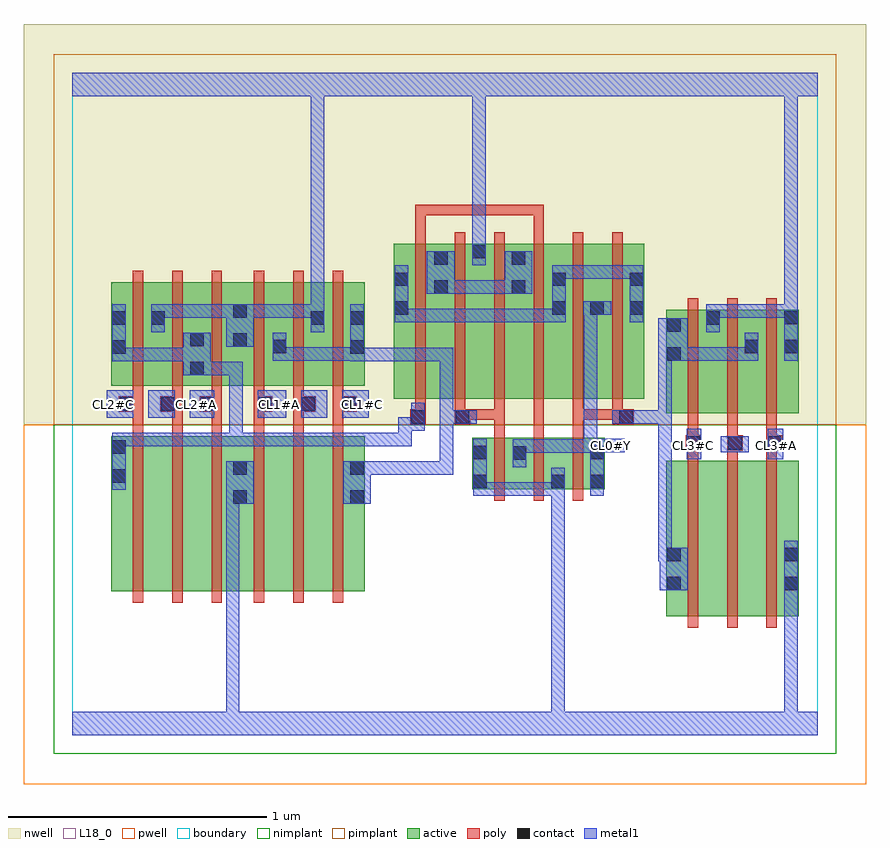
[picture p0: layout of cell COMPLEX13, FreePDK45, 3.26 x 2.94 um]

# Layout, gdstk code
import gdstk
lib = gdstk.Library(unit=1e-6, precision=1e-09)
def R(c, l, rs):  # rectangles x0, y0, x1, y1
    for r in rs: c.add(gdstk.rectangle(r[:2], r[2:], *l))
def A(c, l, x, y, w, h, nx, ny, dx, dy):  # array of equal rectangles
    R(c, l, [(x+i*dx, y+j*dy, x+i*dx+w, y+j*dy+h) for i in range(nx) for j in range(ny)])
active = (1, 0)
pwell = (2, 0)
nwell = (3, 0)
nimplant = (4, 0)
pimplant = (5, 0)
poly = (9, 0)
contact = (10, 0)
metal1 = (11, 0)
L18_0 = (18, 0)
boundary = (235, 0)

complex13 = lib.new_cell('COMPLEX13')
R(complex13, active, [(2.294,0.46,2.474,1.06), (2.474,0.46,2.626,1.06), (2.626,0.46,2.806,1.06), (0.15,0.556,0.33,1.156), (0.15,0.556,0.21,1.156), (0.33,0.556,0.482,1.156), (0.482,0.556,0.678,1.156), (0.618,0.556,0.798,1.156), (0.618,0.556,0.678,1.156), (0.798,0.556,0.95,1.156), (0.95,0.556,1.13,1.156), (1.07,0.556,1.13,1.156), (2.294,0.556,2.354,1.06), (2.746,0.556,2.806,1.06), (1.546,0.95,1.606,1.15), (1.546,0.95,1.758,1.15), (1.698,0.95,1.906,1.15), (1.698,0.95,1.758,1.12), (1.846,0.95,2.058,1.15), (1.846,0.95,1.906,1.01), (1.998,0.95,2.058,1.15), (2.294,1.244,2.354,1.644), (2.294,1.244,2.506,1.644), (2.446,1.244,2.506,1.644), (2.446,1.244,2.654,1.644), (2.594,1.244,2.806,1.644), (2.746,1.244,2.806,1.644), (1.242,1.3,1.454,1.9), (1.242,1.3,1.302,1.844), (1.394,1.3,1.602,1.9), (1.542,1.3,1.754,1.9), (1.694,1.3,1.754,1.9), (1.694,1.3,1.91,1.9), (1.85,1.3,2.058,1.9), (1.998,1.3,2.21,1.9), (2.15,1.3,2.21,1.9), (0.15,1.35,0.362,1.75), (0.15,1.35,0.21,1.644), (0.302,1.35,0.362,1.644), (0.302,1.35,0.512,1.75), (0.452,1.35,0.512,1.644), (0.452,1.35,0.678,1.75), (0.618,1.35,0.83,1.75), (0.618,1.35,0.678,1.67), (0.77,1.35,0.978,1.75), (0.77,1.35,0.83,1.644), (0.918,1.35,1.13,1.75), (0.918,1.35,0.978,1.644), (1.07,1.35,1.13,1.644), (2.594,1.472,2.654,1.644), (1.394,1.58,1.454,1.9), (1.85,1.62,1.91,1.844), (1.998,1.62,2.058,1.844), (1.542,1.672,1.602,1.9)])
R(complex13, pwell, [(-0.188,-0.188,3.068,1.2)])
R(complex13, nwell, [(-0.188,1.2,3.068,2.748)])
R(complex13, nimplant, [(-0.072,-0.072,2.952,1.2)])
R(complex13, pimplant, [(-0.072,1.2,2.952,2.632)])
A(complex13, poly, 2.378, 0.416, 0.04, 0.688, 3, 1, 0.152, 0)
A(complex13, poly, 0.234, 0.512, 0.04, 0.688, 3, 1, 0.152, 0)
A(complex13, poly, 0.702, 0.512, 0.04, 0.688, 3, 1, 0.152, 0)
A(complex13, poly, 1.63, 0.906, 0.04, 0.288, 3, 1, 0.152, 0)
A(complex13, poly, 2.378, 1.064, 0.04, 0.076, 3, 1, 0.152, 0)
A(complex13, poly, 2.378, 1.12, 0.04, 0.12, 3, 1, 0.152, 0)
A(complex13, poly, 1.63, 1.154, 0.04, 0.106, 3, 1, 0.152, 0)
A(complex13, poly, 0.234, 1.16, 0.04, 0.13, 3, 1, 0.152, 0)
A(complex13, poly, 0.702, 1.16, 0.04, 0.13, 3, 1, 0.152, 0)
A(complex13, poly, 2.378, 1.2, 0.04, 0.488, 3, 1, 0.152, 0)
A(complex13, poly, 1.326, 1.22, 0.04, 0.076, 6, 1, 0.152, 0)
A(complex13, poly, 1.326, 1.256, 0.04, 0.688, 6, 1, 0.152, 0)
A(complex13, poly, 0.234, 1.27, 0.04, 0.076, 3, 1, 0.152, 0)
A(complex13, poly, 0.702, 1.27, 0.04, 0.076, 3, 1, 0.152, 0)
A(complex13, poly, 0.234, 1.306, 0.04, 0.488, 3, 1, 0.152, 0)
A(complex13, poly, 0.702, 1.306, 0.04, 0.488, 3, 1, 0.152, 0)
R(complex13, poly, [(2.37,1.1,2.43,1.16), (2.378,1.1,2.418,1.14), (2.378,1.1,2.418,1.14), (2.53,1.1,2.59,1.16), (2.682,1.1,2.742,1.16), (2.53,1.12,2.57,1.16), (2.53,1.12,2.57,1.16), (2.682,1.12,2.722,1.16), (2.682,1.12,2.722,1.16), (1.306,1.2,1.366,1.26), (1.478,1.2,1.538,1.26), (2.086,1.2,2.17,1.26), (1.326,1.22,1.366,1.26), (1.326,1.22,1.366,1.26), (1.498,1.22,1.538,1.26), (1.498,1.22,1.538,1.26), (1.498,1.22,1.67,1.26), (1.63,1.22,1.67,1.26), (1.63,1.22,1.67,1.26), (1.63,1.22,1.67,1.26), (1.782,1.22,1.822,1.26), (1.782,1.22,1.822,1.26), (1.782,1.22,1.822,1.26), (1.934,1.22,1.974,1.26), (1.934,1.22,1.974,1.26), (1.934,1.22,1.974,1.26), (1.934,1.22,2.126,1.26), (2.086,1.22,2.126,1.26), (2.086,1.22,2.126,1.26), (0.18,1.25,0.274,1.31), (0.234,1.25,0.274,1.29), (0.234,1.25,0.274,1.29), (0.34,1.25,0.426,1.31), (0.492,1.25,0.578,1.31), (0.702,1.25,0.742,1.29), (0.702,1.25,0.742,1.29), (0.702,1.25,0.772,1.31), (0.854,1.25,0.894,1.29), (0.854,1.25,0.894,1.29), (0.854,1.25,0.94,1.31), (1.006,1.25,1.046,1.29), (1.006,1.25,1.046,1.29), (1.006,1.25,1.1,1.31), (0.386,1.27,0.426,1.31), (0.386,1.27,0.426,1.31), (0.538,1.27,0.578,1.31), (0.538,1.27,0.578,1.31), (1.326,1.904,1.366,2.05), (1.782,1.904,1.822,2.05), (1.326,2.01,1.366,2.05), (1.326,2.01,1.366,2.05), (1.326,2.01,1.366,2.05), (1.326,2.01,1.564,2.05), (1.524,2.01,1.564,2.05), (1.524,2.01,1.716,2.05), (1.676,2.01,1.716,2.05), (1.676,2.01,1.716,2.05), (1.676,2.01,1.716,2.05), (1.676,2.01,1.822,2.05), (1.782,2.01,1.822,2.05), (1.782,2.01,1.822,2.05), (1.782,2.01,1.822,2.05)])
R(complex13, contact, [(2.298,0.56,2.35,0.612), (2.75,0.56,2.802,0.612), (2.298,0.672,2.35,0.724), (2.75,0.672,2.802,0.724), (0.622,0.894,0.674,0.946), (1.074,0.894,1.126,0.946), (1.55,0.954,1.602,1.006), (1.85,0.954,1.902,1.006), (2.002,0.954,2.054,1.006), (0.154,0.976,0.206,1.028), (0.622,1.006,0.674,1.058), (1.074,1.006,1.126,1.058), (1.702,1.064,1.754,1.116), (1.55,1.066,1.602,1.118), (2.002,1.066,2.054,1.118), (0.154,1.088,0.206,1.14), (2.374,1.104,2.426,1.156), (2.534,1.104,2.586,1.156), (2.686,1.104,2.738,1.156), (1.31,1.204,1.362,1.256), (1.482,1.204,1.534,1.256), (2.114,1.204,2.166,1.256), (0.184,1.254,0.236,1.306), (0.344,1.254,0.396,1.306), (0.496,1.254,0.548,1.306), (0.716,1.254,0.768,1.306), (0.884,1.254,0.936,1.306), (1.044,1.254,1.096,1.306), (0.456,1.392,0.508,1.444), (2.298,1.448,2.35,1.5), (0.154,1.474,0.206,1.526), (1.074,1.474,1.126,1.526), (0.774,1.476,0.826,1.528), (2.598,1.476,2.65,1.528), (2.75,1.476,2.802,1.528), (0.622,1.502,0.674,1.554), (0.456,1.504,0.508,1.556), (2.298,1.56,2.35,1.612), (0.154,1.586,0.206,1.638), (0.306,1.586,0.358,1.638), (0.922,1.586,0.974,1.638), (1.074,1.586,1.126,1.638), (2.45,1.586,2.502,1.638), (2.75,1.588,2.802,1.64), (0.622,1.614,0.674,1.666), (1.246,1.624,1.298,1.676), (1.854,1.624,1.906,1.676), (2.002,1.624,2.054,1.676), (2.154,1.624,2.206,1.676), (1.398,1.706,1.45,1.758), (1.698,1.706,1.75,1.758), (1.246,1.736,1.298,1.788), (1.854,1.736,1.906,1.788), (2.154,1.736,2.206,1.788), (1.398,1.818,1.45,1.87), (1.698,1.818,1.75,1.87), (1.546,1.844,1.598,1.896)])
R(complex13, metal1, [(0,0,2.88,0.092), (0.594,0.04,0.646,0.092), (0.594,0.04,0.646,0.092), (0.594,0.04,0.646,0.092), (0.594,0.04,0.646,0.092), (0.594,0.04,0.646,0.092), (0.594,0.04,0.646,0.092), (0.594,0.04,0.646,0.092), (0.594,0.04,0.646,0.092), (0.594,0.04,0.646,0.946), (1.85,0.04,1.902,0.092), (1.85,0.04,1.902,0.092), (1.85,0.04,1.902,0.092), (1.85,0.04,1.902,0.092), (1.85,0.04,1.902,0.092), (1.85,0.04,1.902,0.092), (1.85,0.04,1.902,0.092), (1.85,0.04,1.902,0.092), (1.85,0.04,1.902,0.978), (2.75,0.04,2.802,0.584), (2.75,0.532,2.802,0.584), (2.75,0.532,2.802,0.584), (2.75,0.532,2.802,0.584), (2.75,0.532,2.802,0.584), (2.75,0.532,2.802,0.584), (2.75,0.532,2.802,0.584), (2.75,0.532,2.802,0.584), (2.75,0.532,2.802,0.584), (2.75,0.532,2.802,0.752), (2.27,0.56,2.378,0.724), (2.264,0.672,2.316,1.256), (2.264,0.672,2.322,0.724), (2.27,0.672,2.322,0.724), (0.594,0.894,0.702,1.058), (1.046,0.894,1.154,1.058), (1.55,0.926,1.602,0.978), (1.55,0.926,1.602,0.978), (1.55,0.926,1.602,1.146), (1.55,0.926,1.792,0.978), (1.74,0.926,1.792,0.978), (1.74,0.926,1.792,0.978), (1.74,0.926,1.792,0.978), (1.74,0.926,1.902,0.978), (1.85,0.926,1.902,0.978), (1.85,0.926,1.902,0.978), (1.85,0.926,1.902,0.978), (1.85,0.926,1.902,0.978), (1.85,0.926,1.902,0.978), (1.85,0.926,1.902,0.978), (1.85,0.926,1.902,0.978), (1.85,0.926,1.902,0.978), (1.85,0.926,1.902,1.034), (2.002,0.926,2.054,1.146), (0.154,0.948,0.206,1.168), (1.102,1.006,1.312,1.058), (1.26,1.006,1.312,1.058), (1.26,1.006,1.312,1.058), (1.26,1.006,1.312,1.058), (1.26,1.006,1.472,1.058), (1.42,1.006,1.472,1.058), (1.42,1.006,1.472,1.256), (1.702,1.036,1.754,1.144), (2.374,1.066,2.43,1.184), (2.686,1.066,2.746,1.184), (1.702,1.092,1.754,1.144), (1.702,1.092,1.754,1.144), (1.702,1.092,1.902,1.144), (1.85,1.092,1.902,1.144), (1.85,1.092,1.902,1.144), (1.85,1.092,1.902,1.144), (1.85,1.092,2.054,1.144), (1.976,1.094,2.028,1.146), (1.976,1.094,2.028,1.146), (1.976,1.094,2.028,1.676), (1.976,1.094,2.134,1.146), (2.002,1.094,2.054,1.146), (2.506,1.094,2.614,1.156), (0.154,1.116,0.206,1.168), (0.154,1.116,0.206,1.168), (0.154,1.116,0.37,1.168), (0.318,1.116,0.37,1.168), (0.318,1.116,0.37,1.168), (0.318,1.116,0.37,1.168), (0.318,1.116,0.48,1.168), (0.428,1.116,0.48,1.168), (0.428,1.116,0.48,1.168), (0.428,1.116,0.48,1.168), (0.428,1.116,0.658,1.168), (0.606,1.116,0.658,1.168), (0.606,1.116,0.658,1.168), (0.606,1.116,0.658,1.168), (0.606,1.116,0.658,1.168), (0.606,1.116,0.658,1.168), (0.606,1.116,0.864,1.168), (0.606,1.116,0.658,1.444), (0.812,1.116,0.864,1.168), (0.812,1.116,0.864,1.168), (0.812,1.116,0.864,1.168), (0.812,1.116,0.974,1.168), (0.922,1.116,0.974,1.168), (0.922,1.116,0.974,1.168), (0.922,1.116,0.974,1.168), (0.922,1.116,1.188,1.168), (1.136,1.116,1.188,1.168), (1.136,1.116,1.312,1.168), (1.26,1.116,1.312,1.228), (1.26,1.176,1.362,1.228), (1.31,1.176,1.362,1.284), (1.42,1.204,1.472,1.256), (1.42,1.204,1.472,1.256), (1.42,1.204,1.472,1.256), (1.42,1.204,1.506,1.256), (1.42,1.204,1.472,1.498), (1.454,1.204,1.562,1.256), (2.086,1.204,2.194,1.256), (2.142,1.204,2.268,1.256), (2.216,1.204,2.268,1.256), (2.216,1.204,2.316,1.256), (2.264,1.204,2.316,1.256), (2.264,1.204,2.316,1.5), (0.134,1.226,0.236,1.334), (0.294,1.226,0.396,1.334), (0.454,1.226,0.548,1.334), (0.716,1.226,0.826,1.334), (0.884,1.226,0.986,1.334), (1.044,1.226,1.146,1.334), (0.428,1.392,0.536,1.556), (0.484,1.392,0.536,1.444), (0.484,1.392,0.536,1.444), (0.484,1.392,0.658,1.444), (0.606,1.392,0.658,1.444), (0.606,1.392,0.658,1.444), (0.606,1.392,0.658,1.444), (0.154,1.446,0.206,1.498), (0.154,1.446,0.206,1.498), (0.154,1.446,0.206,1.666), (0.154,1.446,0.37,1.498), (0.318,1.446,0.37,1.498), (0.318,1.446,0.37,1.498), (0.318,1.446,0.37,1.498), (0.318,1.446,0.48,1.498), (1.074,1.446,1.126,1.498), (1.074,1.446,1.126,1.498), (1.074,1.446,1.126,1.666), (1.074,1.446,1.298,1.498), (1.246,1.446,1.298,1.498), (1.246,1.446,1.472,1.498), (1.42,1.446,1.472,1.498), (0.774,1.448,0.826,1.5), (0.774,1.448,0.826,1.5), (0.774,1.448,0.826,1.556), (0.774,1.448,0.974,1.5), (0.922,1.448,0.974,1.5), (0.922,1.448,0.974,1.5), (0.922,1.448,0.974,1.5), (0.922,1.448,1.126,1.5), (2.264,1.448,2.378,1.612), (2.326,1.448,2.378,1.5), (2.326,1.448,2.378,1.5), (2.326,1.448,2.54,1.5), (2.488,1.448,2.54,1.5), (2.488,1.448,2.54,1.5), (2.488,1.448,2.54,1.5), (2.488,1.448,2.65,1.5), (2.598,1.448,2.65,1.556), (2.75,1.448,2.802,1.668), (0.594,1.502,0.702,1.666), (0.306,1.558,0.358,1.666), (0.922,1.558,0.974,1.666), (2.45,1.558,2.502,1.666), (1.246,1.596,1.298,1.648), (1.246,1.596,1.298,1.648), (1.246,1.596,1.298,1.816), (1.246,1.596,1.472,1.648), (1.42,1.596,1.472,1.648), (1.42,1.596,1.472,1.648), (1.42,1.596,1.472,1.648), (1.42,1.596,1.612,1.648), (1.56,1.596,1.612,1.648), (1.56,1.596,1.612,1.648), (1.56,1.596,1.612,1.648), (1.56,1.596,1.612,1.648), (1.56,1.596,1.612,1.648), (1.56,1.596,1.726,1.648), (1.674,1.596,1.726,1.648), (1.674,1.596,1.726,1.648), (1.674,1.596,1.726,1.648), (1.674,1.596,1.906,1.648), (1.854,1.596,1.906,1.816), (2.154,1.596,2.206,1.816), (0.306,1.614,0.358,1.666), (0.306,1.614,0.358,1.666), (0.306,1.614,0.506,1.666), (0.454,1.614,0.506,1.666), (0.454,1.614,0.506,1.666), (0.454,1.614,0.506,1.666), (0.454,1.614,0.646,1.666), (0.65,1.614,0.702,1.666), (0.65,1.614,0.702,1.666), (0.65,1.614,0.864,1.666), (0.812,1.614,0.864,1.666), (0.812,1.614,0.864,1.666), (0.812,1.614,0.864,1.666), (0.812,1.614,0.974,1.666), (0.922,1.614,0.974,1.666), (0.922,1.614,0.974,1.666), (0.922,1.614,0.974,1.666), (0.922,1.614,0.974,1.666), (0.922,1.614,0.974,1.666), (0.922,1.614,0.974,1.666), (0.922,1.614,0.974,1.666), (0.922,1.614,0.974,1.666), (0.922,1.614,0.974,1.666), (0.922,1.614,0.974,1.666), (0.922,1.614,0.974,2.52), (2.45,1.614,2.502,1.666), (2.45,1.614,2.502,1.666), (2.45,1.614,2.692,1.666), (2.64,1.614,2.692,1.666), (2.64,1.614,2.692,1.666), (2.64,1.614,2.692,1.666), (2.64,1.614,2.802,1.666), (2.75,1.616,2.802,1.668), (2.75,1.616,2.802,1.668), (2.75,1.616,2.802,2.52), (1.974,1.624,2.082,1.676), (1.37,1.706,1.478,1.87), (1.426,1.706,1.478,1.758), (1.426,1.706,1.478,1.758), (1.426,1.706,1.588,1.758), (1.536,1.706,1.588,1.758), (1.536,1.706,1.588,1.758), (1.536,1.706,1.588,1.758), (1.536,1.706,1.722,1.758), (1.67,1.706,1.778,1.87), (1.854,1.764,1.906,1.816), (1.854,1.764,1.906,1.816), (1.854,1.764,1.906,1.816), (1.854,1.764,1.906,1.816), (1.854,1.764,2.096,1.816), (2.044,1.764,2.096,1.816), (2.044,1.764,2.206,1.816), (2.154,1.764,2.206,1.816), (2.154,1.764,2.206,1.816), (1.546,1.816,1.598,1.924), (1.546,1.872,1.598,2.52), (0,2.468,2.88,2.56), (0.922,2.468,0.974,2.52), (0.922,2.468,0.974,2.52), (0.922,2.468,0.974,2.52), (0.922,2.468,0.974,2.52), (0.922,2.468,0.974,2.52), (0.922,2.468,0.974,2.52), (1.546,2.468,1.598,2.52), (1.546,2.468,1.598,2.52), (1.546,2.468,1.598,2.52), (1.546,2.468,1.598,2.52), (1.546,2.468,1.598,2.52), (1.546,2.468,1.598,2.52), (1.546,2.468,1.598,2.52), (1.546,2.468,1.598,2.52), (1.546,2.468,1.598,2.52), (1.546,2.468,1.598,2.52), (1.546,2.468,1.598,2.52), (1.546,2.468,1.598,2.52), (2.75,2.468,2.802,2.52), (2.75,2.468,2.802,2.52), (2.75,2.468,2.802,2.52), (2.75,2.468,2.802,2.52), (2.75,2.468,2.802,2.52), (2.75,2.468,2.802,2.52), (2.75,2.468,2.802,2.52), (2.75,2.468,2.802,2.52), (2.75,2.468,2.802,2.52), (2.75,2.468,2.802,2.52), (2.75,2.468,2.802,2.52), (2.75,2.468,2.802,2.52), (2.75,2.468,2.802,2.52), (2.75,2.468,2.802,2.52)])
A(complex13, L18_0, 2.374, 1.094, 0.052, 0.052, 3, 1, 0.16, 0)
A(complex13, L18_0, 0.134, 1.254, 0.052, 0.052, 3, 1, 0.16, 0)
A(complex13, L18_0, 0.774, 1.254, 0.052, 0.052, 3, 1, 0.16, 0)
R(complex13, L18_0, [(0,0,2.88,0.092), (0.594,0.04,0.646,0.092), (0.594,0.04,0.646,0.092), (0.594,0.04,0.646,0.092), (0.594,0.04,0.646,0.092), (0.594,0.04,0.646,0.092), (0.594,0.04,0.646,0.092), (0.594,0.04,0.646,0.092), (0.594,0.04,0.646,0.092), (0.594,0.04,0.646,0.946), (1.85,0.04,1.902,0.092), (1.85,0.04,1.902,0.092), (1.85,0.04,1.902,0.092), (1.85,0.04,1.902,0.092), (1.85,0.04,1.902,0.092), (1.85,0.04,1.902,0.092), (1.85,0.04,1.902,0.092), (1.85,0.04,1.902,0.092), (1.85,0.04,1.902,0.978), (2.75,0.04,2.802,0.584), (2.75,0.532,2.802,0.584), (2.75,0.532,2.802,0.584), (2.75,0.532,2.802,0.584), (2.75,0.532,2.802,0.584), (2.75,0.532,2.802,0.584), (2.75,0.532,2.802,0.584), (2.75,0.532,2.802,0.584), (2.75,0.532,2.802,0.584), (2.75,0.532,2.802,0.752), (0.594,0.894,0.702,1.058), (1.55,0.926,1.602,0.978), (1.55,0.926,1.602,0.978), (1.55,0.926,1.602,1.146), (1.55,0.926,1.792,0.978), (1.74,0.926,1.792,0.978), (1.74,0.926,1.792,0.978), (1.74,0.926,1.792,0.978), (1.74,0.926,1.902,0.978), (1.85,0.926,1.902,1.034), (1.85,0.926,1.902,0.978), (1.85,0.926,1.902,0.978), (1.85,0.926,1.902,0.978), (1.85,0.926,1.902,0.978), (1.85,0.926,1.902,0.978), (1.85,0.926,1.902,0.978), (1.85,0.926,1.902,0.978), (1.85,0.926,1.902,0.978), (2.002,0.926,2.054,1.146), (1.702,1.036,1.754,1.144), (2.374,1.066,2.43,1.184), (2.686,1.066,2.746,1.184), (1.702,1.092,1.754,1.144), (1.702,1.092,1.754,1.144), (1.702,1.092,1.902,1.144), (1.85,1.092,1.902,1.144), (1.85,1.092,1.902,1.144), (1.85,1.092,1.902,1.144), (1.85,1.092,2.054,1.144), (1.976,1.094,2.028,1.146), (1.976,1.094,2.028,1.146), (1.976,1.094,2.134,1.146), (1.976,1.094,2.028,1.676), (2.002,1.094,2.054,1.146), (2.054,1.094,2.106,1.146), (2.506,1.094,2.614,1.156), (0.134,1.226,0.236,1.334), (0.294,1.226,0.396,1.334), (0.454,1.226,0.548,1.334), (0.716,1.226,0.826,1.334), (0.884,1.226,0.986,1.334), (1.044,1.226,1.146,1.334), (2.75,1.448,2.802,1.668), (0.594,1.502,0.702,1.666), (0.306,1.558,0.358,1.666), (0.922,1.558,0.974,1.666), (2.45,1.558,2.502,1.666), (0.306,1.614,0.358,1.666), (0.306,1.614,0.358,1.666), (0.306,1.614,0.506,1.666), (0.454,1.614,0.506,1.666), (0.454,1.614,0.506,1.666), (0.454,1.614,0.506,1.666), (0.454,1.614,0.646,1.666), (0.65,1.614,0.702,1.666), (0.65,1.614,0.702,1.666), (0.65,1.614,0.864,1.666), (0.812,1.614,0.864,1.666), (0.812,1.614,0.864,1.666), (0.812,1.614,0.864,1.666), (0.812,1.614,0.974,1.666), (0.922,1.614,0.974,1.666), (0.922,1.614,0.974,1.666), (0.922,1.614,0.974,1.666), (0.922,1.614,0.974,1.666), (0.922,1.614,0.974,1.666), (0.922,1.614,0.974,1.666), (0.922,1.614,0.974,1.666), (0.922,1.614,0.974,1.666), (0.922,1.614,0.974,1.666), (0.922,1.614,0.974,1.666), (0.922,1.614,0.974,2.52), (2.45,1.614,2.502,1.666), (2.45,1.614,2.502,1.666), (2.45,1.614,2.692,1.666), (2.64,1.614,2.692,1.666), (2.64,1.614,2.692,1.666), (2.64,1.614,2.692,1.666), (2.64,1.614,2.802,1.666), (2.75,1.616,2.802,1.668), (2.75,1.616,2.802,1.668), (2.75,1.616,2.802,2.52), (1.974,1.624,2.082,1.676), (1.546,1.816,1.598,1.924), (1.546,1.872,1.598,2.52), (0,2.468,2.88,2.56), (0.922,2.468,0.974,2.52), (0.922,2.468,0.974,2.52), (0.922,2.468,0.974,2.52), (0.922,2.468,0.974,2.52), (0.922,2.468,0.974,2.52), (0.922,2.468,0.974,2.52), (1.546,2.468,1.598,2.52), (1.546,2.468,1.598,2.52), (1.546,2.468,1.598,2.52), (1.546,2.468,1.598,2.52), (1.546,2.468,1.598,2.52), (1.546,2.468,1.598,2.52), (1.546,2.468,1.598,2.52), (1.546,2.468,1.598,2.52), (1.546,2.468,1.598,2.52), (1.546,2.468,1.598,2.52), (1.546,2.468,1.598,2.52), (1.546,2.468,1.598,2.52), (2.75,2.468,2.802,2.52), (2.75,2.468,2.802,2.52), (2.75,2.468,2.802,2.52), (2.75,2.468,2.802,2.52), (2.75,2.468,2.802,2.52), (2.75,2.468,2.802,2.52), (2.75,2.468,2.802,2.52), (2.75,2.468,2.802,2.52), (2.75,2.468,2.802,2.52), (2.75,2.468,2.802,2.52), (2.75,2.468,2.802,2.52), (2.75,2.468,2.802,2.52), (2.75,2.468,2.802,2.52), (2.75,2.468,2.802,2.52)])
R(complex13, boundary, [(0,0,2.88,2.56)])
complex13.add(gdstk.Label('CL0#Y', (2.08,1.12), layer=11, texttype=0))
complex13.add(gdstk.Label('CL1#A', (0.8,1.28), layer=11, texttype=0))
complex13.add(gdstk.Label('CL1#B', (0.96,1.28), layer=11, texttype=0))
complex13.add(gdstk.Label('CL1#C', (1.12,1.28), layer=11, texttype=0))
complex13.add(gdstk.Label('CL2#A', (0.48,1.28), layer=11, texttype=0))
complex13.add(gdstk.Label('CL2#B', (0.32,1.28), layer=11, texttype=0))
complex13.add(gdstk.Label('CL2#C', (0.16,1.28), layer=11, texttype=0))
complex13.add(gdstk.Label('CL3#A', (2.72,1.12), layer=11, texttype=0))
complex13.add(gdstk.Label('CL3#B', (2.56,1.12), layer=11, texttype=0))
complex13.add(gdstk.Label('CL3#C', (2.4,1.12), layer=11, texttype=0))

lib.write_gds('COMPLEX13.gds')
